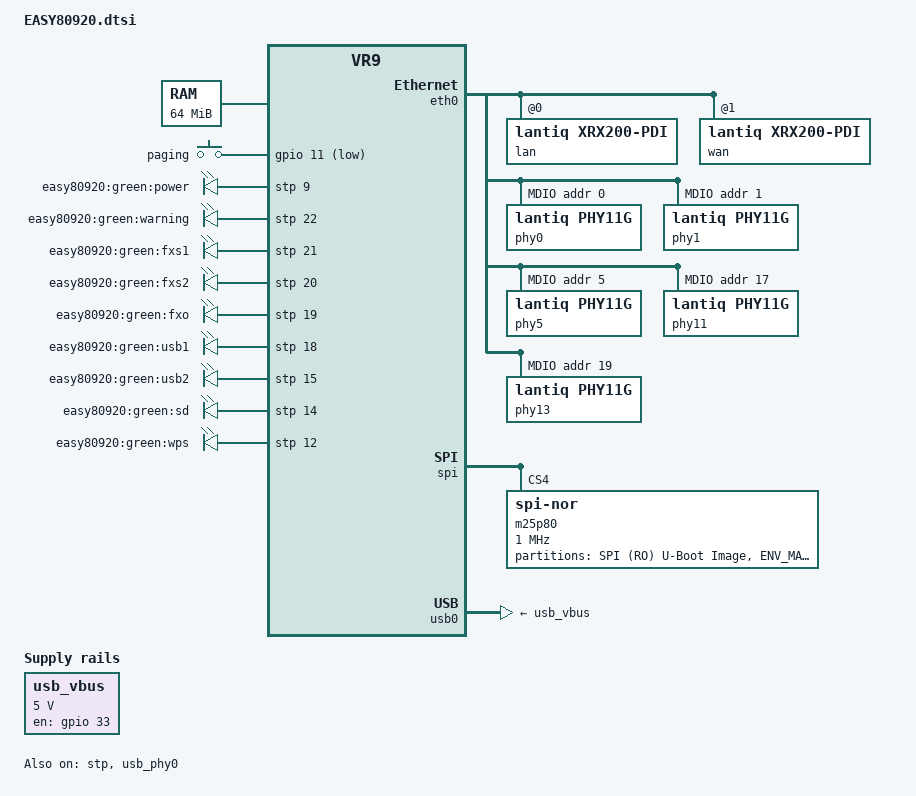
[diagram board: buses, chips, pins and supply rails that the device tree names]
#include "vr9.dtsi"

#include <dt-bindings/input/input.h>
#include <dt-bindings/mips/lantiq_rcu_gphy.h>

/ {
	compatible = "lantiq,easy80920", "lantiq,xway", "lantiq,vr9";

	chosen {
		bootargs = "console=ttyLTQ0,115200";
	};

	aliases {
		led-boot = &power;
		led-failsafe = &power;
		led-running = &power;
		led-upgrade = &power;

		led-usb = &led_usb1;
		led-usb2 = &led_usb2;
	};

	memory@0 {
		reg = <0x0 0x4000000>;
	};

	gpio-keys-polled {
		compatible = "gpio-keys-polled";
		#address-cells = <1>;
		#size-cells = <0>;
		poll-interval = <100>;
/*		reset {
			label = "reset";
			gpios = <&gpio 7 GPIO_ACTIVE_LOW>;
			linux,code = <KEY_RESTART>;
		};*/
		paging {
			label = "paging";
			gpios = <&gpio 11 GPIO_ACTIVE_LOW>;
			linux,code = <KEY_PHONE>;
		};
	};

	gpio-leds {
		compatible = "gpio-leds";

		power: power {
			label = "easy80920:green:power";
			gpios = <&stp 9 GPIO_ACTIVE_HIGH>;
			default-state = "keep";
		};
		warning {
			label = "easy80920:green:warning";
			gpios = <&stp 22 GPIO_ACTIVE_HIGH>;
		};
		fxs1 {
			label = "easy80920:green:fxs1";
			gpios = <&stp 21 GPIO_ACTIVE_HIGH>;
		};
		fxs2 {
			label = "easy80920:green:fxs2";
			gpios = <&stp 20 GPIO_ACTIVE_HIGH>;
		};
		fxo {
			label = "easy80920:green:fxo";
			gpios = <&stp 19 GPIO_ACTIVE_HIGH>;
		};
		led_usb1: usb1 {
			label = "easy80920:green:usb1";
			gpios = <&stp 18 GPIO_ACTIVE_HIGH>;
		};
		led_usb2: usb2 {
			label = "easy80920:green:usb2";
			gpios = <&stp 15 GPIO_ACTIVE_HIGH>;
		};
		sd {
			label = "easy80920:green:sd";
			gpios = <&stp 14 GPIO_ACTIVE_HIGH>;
		};
		wps {
			label = "easy80920:green:wps";
			gpios = <&stp 12 GPIO_ACTIVE_HIGH>;
		};
	};

	usb_vbus: regulator-usb-vbus {
		compatible = "regulator-fixed";

		regulator-name = "USB_VBUS";

		regulator-min-microvolt = <5000000>;
		regulator-max-microvolt = <5000000>;

		gpio = <&gpio 33 GPIO_ACTIVE_HIGH>;
		enable-active-high;
	};
};

&eth0 {
	lan: interface@0 {
		compatible = "lantiq,xrx200-pdi";
		#address-cells = <1>;
		#size-cells = <0>;
		reg = <0>;
		lantiq,switch;

		ethernet@4 {
			compatible = "lantiq,xrx200-pdi-port";
			reg = <4>;
			phy-mode = "gmii";
			phy-handle = <&phy13>;
		};
		ethernet@2 {
			compatible = "lantiq,xrx200-pdi-port";
			reg = <2>;
			phy-mode = "gmii";
			phy-handle = <&phy11>;
		};
		ethernet@1 {
			compatible = "lantiq,xrx200-pdi-port";
			reg = <1>;
			phy-mode = "rgmii";
			phy-handle = <&phy1>;
		};
		ethernet@0 {
			compatible = "lantiq,xrx200-pdi-port";
			reg = <0>;
			phy-mode = "rgmii";
			phy-handle = <&phy0>;
		};
	};

	wan: interface@1 {
		compatible = "lantiq,xrx200-pdi";
		#address-cells = <1>;
		#size-cells = <0>;
		reg = <1>;
		lantiq,wan;

		ethernet@5 {
			compatible = "lantiq,xrx200-pdi-port";
			reg = <5>;
			phy-mode = "rgmii";
			phy-handle = <&phy5>;
		};
	};

	mdio@0 {
		#address-cells = <1>;
		#size-cells = <0>;
		compatible = "lantiq,xrx200-mdio";
		reg = <0>;

		phy0: ethernet-phy@0 {
			reg = <0x0>;
			compatible = "lantiq,phy11g", "ethernet-phy-ieee802.3-c22";
		};
		phy1: ethernet-phy@1 {
			reg = <0x1>;
			compatible = "lantiq,phy11g", "ethernet-phy-ieee802.3-c22";
		};
		phy5: ethernet-phy@5 {
			reg = <0x5>;
			compatible = "lantiq,phy11g", "ethernet-phy-ieee802.3-c22";
		};
		phy11: ethernet-phy@11 {
			reg = <0x11>;
			compatible = "lantiq,phy11g", "ethernet-phy-ieee802.3-c22";
		};
		phy13: ethernet-phy@13 {
			reg = <0x13>;
			compatible = "lantiq,phy11g", "ethernet-phy-ieee802.3-c22";
		};
	};
};

&gphy0 {
	lantiq,gphy-mode = <GPHY_MODE_GE>;
};

&gphy1 {
	lantiq,gphy-mode = <GPHY_MODE_GE>;
};

&gpio {
	pinctrl-names = "default";
	pinctrl-0 = <&state_default>;

	state_default: pinmux {
		exin3 {
			lantiq,groups = "exin3";
			lantiq,function = "exin";
		};
		stp {
			lantiq,groups = "stp";
			lantiq,function = "stp";
		};
		nand {
			lantiq,groups = "nand cle", "nand ale",
					"nand rd", "nand rdy";
			lantiq,function = "ebu";
		};
		mdio {
			lantiq,groups = "mdio";
			lantiq,function = "mdio";
		};
		pci {
			lantiq,groups = "gnt1", "req1";
			lantiq,function = "pci";
		};
		conf_out {
			lantiq,pins = "io24", "io13", "io49", /* nand cle, ale and rd */
					"io4", "io5", "io6", /* stp */
					"io21",
					"io33";
			lantiq,open-drain;
			lantiq,pull = <0>;
			lantiq,output = <1>;
		};
		pcie-rst {
			lantiq,pins = "io38";
			lantiq,pull = <0>;
			lantiq,output = <1>;
		};
		conf_in {
			lantiq,pins = "io39", /* exin3 */
					"io48"; /* nand rdy */
			lantiq,pull = <2>;
		};
	};
	pins_spi_default: pins_spi_default {
		spi_in {
			lantiq,groups = "spi_di";
			lantiq,function = "spi";
		};
		spi_out {
			lantiq,groups = "spi_do", "spi_clk",
				"spi_cs4";
			lantiq,function = "spi";
			lantiq,output = <1>;
		};
	};
};

&spi {
	pinctrl-names = "default";
	pinctrl-0 = <&pins_spi_default>;

	status = "okay";

	m25p80@4 {
		#address-cells = <1>;
		#size-cells = <1>;
		compatible = "jedec,spi-nor";
		reg = <4 0>;
		spi-max-frequency = <1000000>;

		partitions {
			compatible = "fixed-partitions";
			#address-cells = <1>;
			#size-cells = <1>;

			partition@0 {
				reg = <0x0 0x20000>;
				label = "SPI (RO) U-Boot Image";
				read-only;
			};

			partition@20000 {
				reg = <0x20000 0x10000>;
				label = "ENV_MAC";
				read-only;
			};

			partition@30000 {
				reg = <0x30000 0x10000>;
				label = "DPF";
				read-only;
			};

			partition@40000 {
				reg = <0x40000 0x10000>;
				label = "NVRAM";
				read-only;
			};

			partition@500000 {
				reg = <0x50000 0x003a0000>;
				label = "kernel";
			};
		};
	};
};

&stp {
	status = "okay";

	lantiq,shadow = <0xffff>;
	lantiq,groups = <0x7>;
	lantiq,dsl = <0x3>;
	lantiq,phy1 = <0x7>;
	lantiq,phy2 = <0x7>;
	/* lantiq,rising; */
};

&usb_phy0 {
	status = "okay";
};

&usb0 {
	status = "okay";
	vbus-supply = <&usb_vbus>;
};
